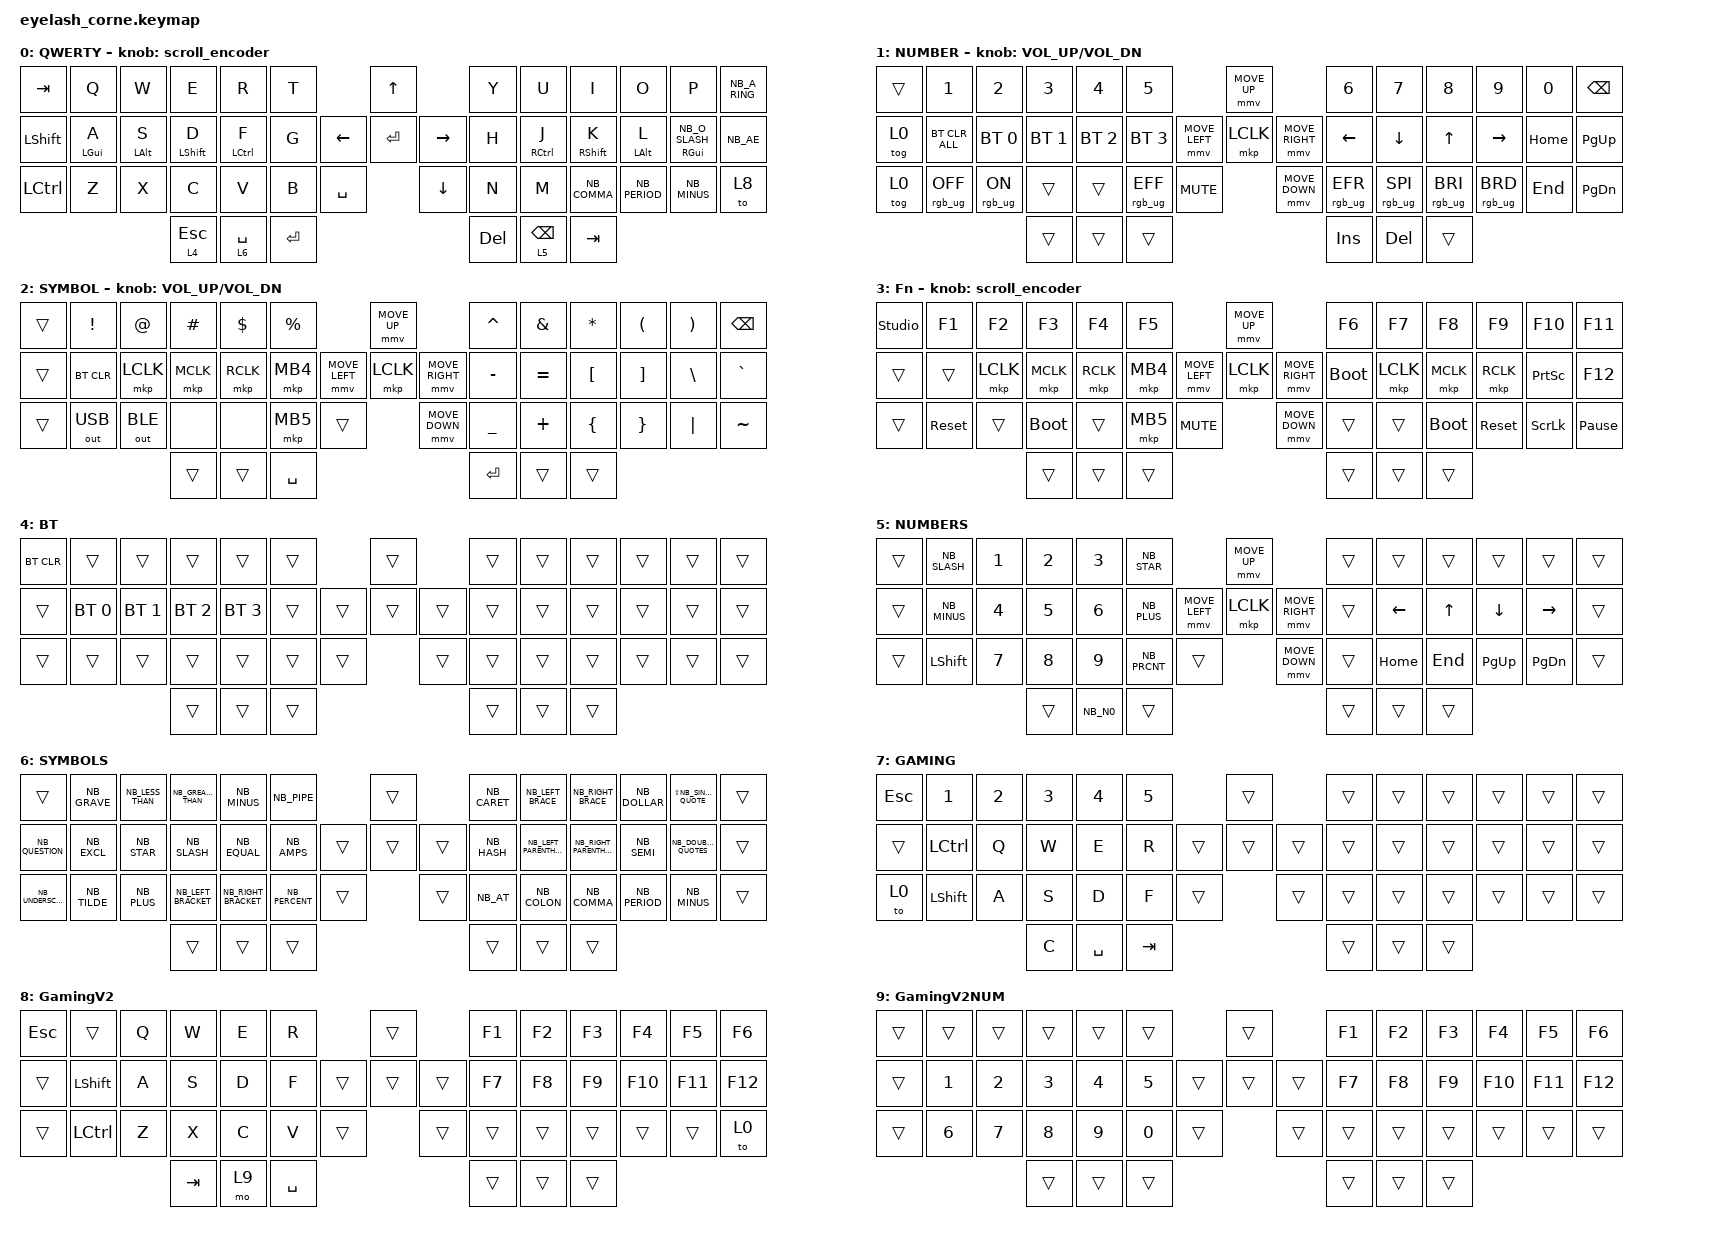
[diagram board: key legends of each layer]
#define ZMK_POINTING_DEFAULT_MOVE_VAL 1200  // 600
#define ZMK_POINTING_DEFAULT_SCRL_VAL 25   // 10

#include <input/processors.dtsi>
#include <zephyr/dt-bindings/input/input-event-codes.h>
#include <behaviors.dtsi>
#include <dt-bindings/zmk/bt.h>
#include <dt-bindings/zmk/keys.h>
#include <dt-bindings/zmk/outputs.h>
#include <dt-bindings/zmk/pointing.h>
#include <dt-bindings/zmk/rgb.h>
#include "keys_nb.h"

&mmv_input_listener { input-processors = <&zip_xy_scaler 2 1>; };

&msc_input_listener { input-processors = <&zip_scroll_scaler 2 1>; };

// &mt { tapping-term-ms = <600>; };

&msc {
    acceleration-exponent = <1>;      // 0
    time-to-max-speed-ms = <100>;       // 300
    delay-ms = <0>;                   // 0
};

&mmv {
    time-to-max-speed-ms = <500>;
    acceleration-exponent = <1>;
    trigger-period-ms = <16>;
};

/ {
    behaviors {
        hm: homerow_mods {
            compatible = "zmk,behavior-hold-tap";
            #binding-cells = <2>;
            flavor = "balanced";
            tapping-term-ms = <280>;
            quick-tap-ms = <175>;
            require-prior-idle-ms = <150>;
            bindings = <&kp>, <&kp>;
        };

        td0: td0 {
            compatible = "zmk,behavior-tap-dance";
            display-name = "Shift/Caps Lock Tap Dance";
            #binding-cells = <0>;
            bindings = <&kp LEFT_SHIFT>, <&kp CAPS>;
        };
    };

    rgb_encoder: rgb_encoder {
        compatible = "zmk,behavior-sensor-rotate";
        #sensor-binding-cells = <0>;
        bindings = <&rgb_ug RGB_BRI>, <&rgb_ug RGB_BRD>;
    };

    scroll_encoder: scroll_encoder {
        compatible = "zmk,behavior-sensor-rotate";
        #sensor-binding-cells = <0>;
        bindings = <&msc SCRL_DOWN>, <&msc SCRL_UP>;

        tap-ms = <100>;
    };

    combos {
        compatible = "zmk,combos";

        softoff {
            bindings = <&soft_off>;
            key-positions = <1 15 29>;
        };
    };

    keymap {
        compatible = "zmk,keymap";

        Default {
            display-name = "QWERTY";
            bindings = <
&kp TAB         &kp Q           &kp W           &kp E             &kp R               &kp T                             &kp UP                &kp Y       &kp U                &kp I              &kp O           &kp P                     &kp NB_A_RING
&kp LEFT_SHIFT  &hm LEFT_GUI A  &hm LEFT_ALT S  &hm LEFT_SHIFT D  &hm LEFT_CONTROL F  &kp G                   &kp LEFT  &kp ENTER  &kp RIGHT  &kp H       &hm RIGHT_CONTROL J  &hm RIGHT_SHIFT K  &hm LEFT_ALT L  &hm RIGHT_GUI NB_O_SLASH  &kp NB_AE
&kp LCTRL       &kp Z           &kp X           &kp C             &kp V               &kp B      &kp SPACE              &kp DOWN              &kp N       &kp M                &kp NB_COMMA       &kp NB_PERIOD   &kp NB_MINUS              &to 8
                                                &lt 4 ESC         &lt 6 SPACE         &kp ENTER                                               &kp DELETE  &lt 5 BACKSPACE      &kp TAB
            >;

            sensor-bindings = <&scroll_encoder>;
        };

        lower_layer {
            display-name = "NUMBER";
            bindings = <
&trans  &kp N1           &kp N2          &kp N3        &kp N4        &kp N5                                         &mmv MOVE_UP                     &kp N6           &kp N7           &kp N8           &kp N9           &kp N0    &kp BSPC
&tog 0  &bt BT_CLR_ALL   &bt BT_SEL 0    &bt BT_SEL 1  &bt BT_SEL 2  &bt BT_SEL 3                   &mmv MOVE_LEFT  &mkp LCLK       &mmv MOVE_RIGHT  &kp LEFT         &kp DOWN         &kp UP           &kp RIGHT        &kp HOME  &kp PG_UP
&tog 0  &rgb_ug RGB_OFF  &rgb_ug RGB_ON  &trans        &trans        &rgb_ug RGB_EFF  &kp C_MUTE                    &mmv MOVE_DOWN                   &rgb_ug RGB_EFR  &rgb_ug RGB_SPI  &rgb_ug RGB_BRI  &rgb_ug RGB_BRD  &kp END   &kp PG_DN
                                         &trans        &trans        &trans                                                                          &kp INS          &kp DEL          &trans
            >;

            sensor-bindings = <&inc_dec_kp C_VOLUME_UP C_VOL_DN>;
        };

        raise_layer {
            display-name = "SYMBOL";
            bindings = <
&trans  &kp EXCL      &kp AT        &kp HASH   &kp DLLR   &kp PRCNT                            &mmv MOVE_UP                     &kp CARET  &kp AMPS   &kp ASTRK  &kp LPAR  &kp RPAR  &kp BSPC
&trans  &bt BT_CLR    &mkp LCLK     &mkp MCLK  &mkp RCLK  &mkp MB4             &mmv MOVE_LEFT  &mkp LCLK       &mmv MOVE_RIGHT  &kp MINUS  &kp EQUAL  &kp LBKT   &kp RBKT  &kp BSLH  &kp GRAVE
&trans  &out OUT_USB  &out OUT_BLE  &none      &none      &mkp MB5   &trans                    &mmv MOVE_DOWN                   &kp UNDER  &kp PLUS   &kp LBRC   &kp RBRC  &kp PIPE  &kp TILDE
                                    &trans     &trans     &kp SPACE                                                             &kp RET    &trans     &trans
            >;

            sensor-bindings = <&inc_dec_kp C_VOLUME_UP C_VOL_DN>;
        };

        layer_3 {
            display-name = "Fn";
            bindings = <
&studio_unlock  &kp F1      &kp F2     &kp F3       &kp F4     &kp F5                                  &mmv MOVE_UP                     &kp F6       &kp F7     &kp F8       &kp F9      &kp F10          &kp F11
&trans          &trans      &mkp LCLK  &mkp MCLK    &mkp RCLK  &mkp MB4                &mmv MOVE_LEFT  &mkp LCLK       &mmv MOVE_RIGHT  &bootloader  &mkp LCLK  &mkp MCLK    &mkp RCLK   &kp PRINTSCREEN  &kp F12
&trans          &sys_reset  &trans     &bootloader  &trans     &mkp MB5  &kp C_MUTE                    &mmv MOVE_DOWN                   &trans       &trans     &bootloader  &sys_reset  &kp SCROLLLOCK   &kp PAUSE_BREAK
                                       &trans       &trans     &trans                                                                   &trans       &trans     &trans
            >;

            sensor-bindings = <&scroll_encoder>;
        };

        layer_4 {
            bindings = <
&bt BT_CLR  &trans        &trans        &trans        &trans        &trans                    &trans          &trans  &trans  &trans  &trans  &trans  &trans
&trans      &bt BT_SEL 0  &bt BT_SEL 1  &bt BT_SEL 2  &bt BT_SEL 3  &trans            &trans  &trans  &trans  &trans  &trans  &trans  &trans  &trans  &trans
&trans      &trans        &trans        &trans        &trans        &trans  &trans            &trans          &trans  &trans  &trans  &trans  &trans  &trans
                                        &trans        &trans        &trans                                    &trans  &trans  &trans
            >;

            label = "BT";
        };

        Numbers {
            bindings = <
&trans  &kp NB_SLASH    &kp N1  &kp N2  &kp N3     &kp NB_STAR                             &mmv MOVE_UP                     &trans  &trans    &trans   &trans     &trans     &trans
&trans  &kp NB_MINUS    &kp N4  &kp N5  &kp N6     &kp NB_PLUS             &mmv MOVE_LEFT  &mkp LCLK       &mmv MOVE_RIGHT  &trans  &kp LEFT  &kp UP   &kp DOWN   &kp RIGHT  &trans
&trans  &kp LEFT_SHIFT  &kp N7  &kp N8  &kp N9     &kp NB_PRCNT  &trans                    &mmv MOVE_DOWN                   &trans  &kp HOME  &kp END  &kp PG_UP  &kp PG_DN  &trans
                                &trans  &kp NB_N0  &trans                                                                   &trans  &trans    &trans
            >;

            label = "NUMBERS";
        };

        Symbols {
            bindings = <
&trans             &kp NB_GRAVE  &kp NB_LESS_THAN  &kp NB_GREATER_THAN  &kp NB_MINUS          &kp NB_PIPE                       &trans          &kp NB_CARET  &kp NB_LEFT_BRACE        &kp NB_RIGHT_BRACE        &kp NB_DOLLAR  &kp LS(NB_SINGLE_QUOTE)  &trans
&kp NB_QUESTION    &kp NB_EXCL   &kp NB_STAR       &kp NB_SLASH         &kp NB_EQUAL          &kp NB_AMPS               &trans  &trans  &trans  &kp NB_HASH   &kp NB_LEFT_PARENTHESIS  &kp NB_RIGHT_PARENTHESIS  &kp NB_SEMI    &kp NB_DOUBLE_QUOTES     &trans
&kp NB_UNDERSCORE  &kp NB_TILDE  &kp NB_PLUS       &kp NB_LEFT_BRACKET  &kp NB_RIGHT_BRACKET  &kp NB_PERCENT  &trans            &trans          &kp NB_AT     &kp NB_COLON             &kp NB_COMMA              &kp NB_PERIOD  &kp NB_MINUS             &trans
                                                   &trans               &trans                &trans                                            &trans        &trans                   &trans
            >;

            label = "SYMBOLS";
        };

        Gaming {
            bindings = <
&kp ESC  &kp N1     &kp N2  &kp N3  &kp N4     &kp N5                     &trans          &trans  &trans  &trans  &trans  &trans  &trans
&trans   &kp LCTRL  &kp Q   &kp W   &kp E      &kp R              &trans  &trans  &trans  &trans  &trans  &trans  &trans  &trans  &trans
&to 0    &kp LSHFT  &kp A   &kp S   &kp D      &kp F    &trans            &trans          &trans  &trans  &trans  &trans  &trans  &trans
                            &kp C   &kp SPACE  &kp TAB                                    &trans  &trans  &trans
            >;

            label = "GAMING";
        };

        GamingV2 {
            bindings = <
&kp ESC  &trans     &kp Q  &kp W    &kp E  &kp R                        &trans          &kp F1  &kp F2  &kp F3  &kp F4   &kp F5   &kp F6
&trans   &kp LSHFT  &kp A  &kp S    &kp D  &kp F                &trans  &trans  &trans  &kp F7  &kp F8  &kp F9  &kp F10  &kp F11  &kp F12
&trans   &kp LCTRL  &kp Z  &kp X    &kp C  &kp V      &trans            &trans          &trans  &trans  &trans  &trans   &trans   &to 0
                           &kp TAB  &mo 9  &kp SPACE                                    &trans  &trans  &trans
            >;
        };

        GamingV2NUM {
            bindings = <
&trans  &trans  &trans  &trans  &trans  &trans                    &trans          &kp F1  &kp F2  &kp F3  &kp F4   &kp F5   &kp F6
&trans  &kp N1  &kp N2  &kp N3  &kp N4  &kp N5            &trans  &trans  &trans  &kp F7  &kp F8  &kp F9  &kp F10  &kp F11  &kp F12
&trans  &kp N6  &kp N7  &kp N8  &kp N9  &kp N0  &trans            &trans          &trans  &trans  &trans  &trans   &trans   &trans
                        &trans  &trans  &trans                                    &trans  &trans  &trans
            >;
        };
    };
};
